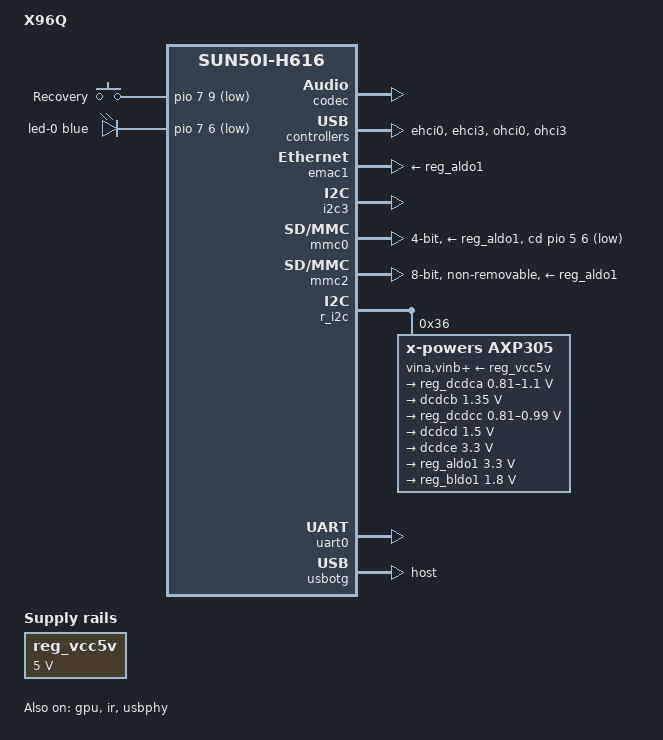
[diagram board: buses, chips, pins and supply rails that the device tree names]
// SPDX-License-Identifier: (GPL-2.0+ OR MIT)
/*
 * Copyright (C) 2021 Arm Ltd.
 * Copyright (C) 2025 J. Neuschäfer
 */

/dts-v1/;

#include "sun50i-h616.dtsi"
#include "sun50i-h616-cpu-opp.dtsi"

#include <dt-bindings/gpio/gpio.h>
#include <dt-bindings/interrupt-controller/arm-gic.h>
#include <dt-bindings/input/linux-event-codes.h>
#include <dt-bindings/leds/common.h>

/ {
	model = "X96Q";
	compatible = "amediatech,x96q", "allwinner,sun50i-h616";

	aliases {
		ethernet0 = &emac1;
		i2c0 = &i2c0;
		i2c1 = &i2c1;
		i2c2 = &i2c2;
		i2c3 = &i2c3;
		i2c4 = &i2c4;
		i2c5 = &r_i2c;
		mmc0 = &mmc0;
		mmc1 = &mmc1;
		mmc2 = &mmc2;
		serial0 = &uart0;
	};

	chosen {
		stdout-path = "serial0:115200n8";
	};

	reg_vcc5v: vcc5v {
		/* board wide 5V supply directly from the DC input */
		compatible = "regulator-fixed";
		regulator-name = "vcc-5v";
		regulator-min-microvolt = <5000000>;
		regulator-max-microvolt = <5000000>;
		regulator-always-on;
	};

	gpio-keys {
		compatible = "gpio-keys";

		key-recovery {
			label = "Recovery";
			linux,code = <KEY_VENDOR>;
			gpios = <&pio 7 9 GPIO_ACTIVE_LOW>;
		};
	};

	leds {
		compatible = "gpio-leds";

		led-0 {
			color = <LED_COLOR_ID_BLUE>;
			gpios = <&pio 7 6 GPIO_ACTIVE_LOW>;
			default-state = "on";
		};
	};
};

&codec {
	allwinner,audio-routing = "Line Out", "LINEOUT";
	status = "okay";
};

&cpu0 {
	cpu-supply = <&reg_dcdca>;
};

&ehci0 {
	status = "okay";
};

&ehci3 {
	status = "okay";
};

&emac1 {
	status = "okay";
	phy-supply = <&reg_aldo1>; // ?
};

&gpu {
	mali-supply = <&reg_dcdcc>;
	status = "okay";
};

&i2c3 {
	pinctrl-names = "default";
	pinctrl-0 = <&i2c3_pa_pins>;
	status = "okay";
};

&i2c3_pa_pins {
	bias-pull-up;
};

&ir {
	status = "okay";
};

/* µSD */
&mmc0 {
	vmmc-supply = <&reg_aldo1>;
	max-frequency = <150000000>;
	cd-gpios = <&pio 5 6 GPIO_ACTIVE_LOW>;	/* PF6 */
	disable-wp;
	bus-width = <4>;
	status = "okay";
};

/* eMMC */
&mmc2 {
	vmmc-supply = <&reg_aldo1>;
	vqmmc-supply = <&reg_bldo1>;
	bus-width = <8>;
	non-removable;
	cap-mmc-hw-reset;
	mmc-ddr-1_8v;
	mmc-hs200-1_8v;
	max-frequency = <100000000>;
	status = "okay";
};

&ohci0 {
	status = "okay";
};

&ohci3 {
	status = "okay";
};

&r_i2c {
	status = "okay";

	axp305: pmic@36 {
		compatible = "x-powers,axp305", "x-powers,axp805",
			     "x-powers,axp806";
		interrupt-controller;
		#interrupt-cells = <1>;
		reg = <0x36>;

		x-powers,self-working-mode;
		vina-supply = <&reg_vcc5v>;
		vinb-supply = <&reg_vcc5v>;
		vinc-supply = <&reg_vcc5v>;
		vind-supply = <&reg_vcc5v>;
		vine-supply = <&reg_vcc5v>;
		aldoin-supply = <&reg_vcc5v>;
		bldoin-supply = <&reg_vcc5v>;
		cldoin-supply = <&reg_vcc5v>;


/*
     vcc-5v                           1   15      0 unknown  5000mV     0mA  5000mV  5000mV
        dcdca                         0    0      0 unknown   900mV     0mA     0mV     0mV
        dcdcb                         0    0      0 unknown  1350mV     0mA     0mV     0mV
        dcdcc                         0    0      0 unknown   900mV     0mA     0mV     0mV
        dcdcd                         0    0      0 unknown  1500mV     0mA     0mV     0mV
        dcdce                         0    0      0 unknown  3300mV     0mA     0mV     0mV
        aldo1                         0    0      0 unknown  3300mV     0mA     0mV     0mV
        aldo2                         0    0      0 unknown   700mV     0mA     0mV     0mV
        aldo3                         0    0      0 unknown   700mV     0mA     0mV     0mV
        bldo1                         0    0      0 unknown  1800mV     0mA     0mV     0mV
        bldo2                         0    0      0 unknown  1800mV     0mA     0mV     0mV
        bldo3                         0    0      0 unknown   700mV     0mA     0mV     0mV
        bldo4                         0    0      0 unknown   700mV     0mA     0mV     0mV
        cldo1                         0    0      0 unknown  2500mV     0mA     0mV     0mV
        cldo2                         0    0      0 unknown   700mV     0mA     0mV     0mV
        cldo3                         0    0      0 unknown   700mV     0mA     0mV     0mV
*/

		regulators {
			reg_dcdca: dcdca {
				regulator-always-on;
				regulator-min-microvolt = <810000>;
				regulator-max-microvolt = <1100000>;
				regulator-name = "vdd-cpu";
			};

			dcdcb {
				regulator-always-on; // ?
				regulator-min-microvolt = <1350000>;
				regulator-max-microvolt = <1350000>;
			};

			reg_dcdcc: dcdcc {
				regulator-always-on;
				regulator-min-microvolt = <810000>;
				regulator-max-microvolt = <990000>;
				regulator-name = "vdd-gpu-sys";
			};

			dcdcd {
				regulator-always-on;
				regulator-min-microvolt = <1500000>;
				regulator-max-microvolt = <1500000>;
			};

			dcdce {
				regulator-always-on; // ?
				regulator-min-microvolt = <3300000>;
				regulator-max-microvolt = <3300000>;
			};

			reg_aldo1: aldo1 {
				regulator-always-on;
				regulator-min-microvolt = <3300000>;
				regulator-max-microvolt = <3300000>;
				regulator-name = "vcc3v3";
			};

			aldo2 {
				/* unused */
			};

			aldo3 {
				/* unused */
			};

			reg_bldo1: bldo1 {
				regulator-always-on;
				regulator-min-microvolt = <1800000>;
				regulator-max-microvolt = <1800000>;
				regulator-name = "vcc1v8";
			};

			bldo2 {
				/* unused */
			};

			bldo3 {
				/* unused */
			};

			bldo4 {
				/* unused */
			};

			cldo1 {
				/* unused */
			};

			cldo2 {
				/* unused */
			};

			cldo3 {
				/* unused */
			};
		};
	};
};

&r_rsb { // appears unused
	status = "okay";
};

&uart0 {
	pinctrl-names = "default";
	pinctrl-0 = <&uart0_ph_pins>;
	status = "okay";
};

&usbotg {
	dr_mode = "host";	/* USB A type receptacle */
	status = "okay";
};

&usbphy {
	status = "okay";
};
